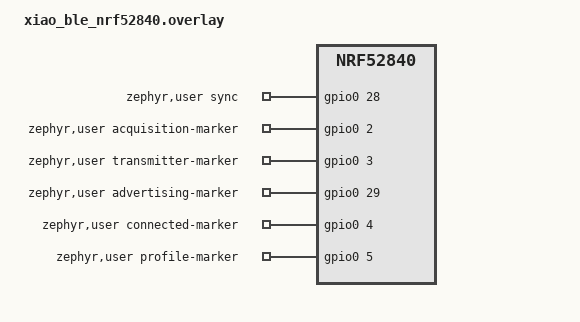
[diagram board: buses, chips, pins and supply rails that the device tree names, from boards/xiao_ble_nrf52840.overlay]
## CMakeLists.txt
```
cmake_minimum_required(VERSION 3.20.0)

find_package(Zephyr REQUIRED HINTS $ENV{ZEPHYR_BASE})
project(peripherial_min)

target_sources(app PRIVATE
  src/main.c
  src/custom_gatt.c
  src/sync_capture.c
)

if(CONFIG_EMG_PREEXPERIMENT)
  target_sources(app PRIVATE src/preexperiment.c)
elseif(CONFIG_EMG_POSTEXPERIMENT)
  target_sources(app PRIVATE
    src/postexperiment.c
    src/energy_markers.c
  )
else()
  message(FATAL_ERROR
    "Seleccione preexperiment.conf o postexperiment.conf mediante EXTRA_CONF_FILE"
  )
endif()

target_include_directories(app PRIVATE
  ${CMAKE_CURRENT_SOURCE_DIR}/../../common
)
```

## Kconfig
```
source "Kconfig.zephyr"

menu "EMG experiment configuration"

config EMG_PREEXPERIMENT
	bool "Automatic BLE saturation preexperiment"
	default n
	help
	  Runs the seven payload sizes automatically with blocking notifications.

config EMG_POSTEXPERIMENT
	bool "Unified post-preexperiment profile sequence"
	default n
	help
	  Runs the seven selected EMG profiles and four 960-byte stress profiles.

endmenu
```

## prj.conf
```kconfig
CONFIG_SERIAL=y
CONFIG_GPIO=y

CONFIG_CONSOLE=y
CONFIG_UART_CONSOLE=y
CONFIG_PRINTK=y
CONFIG_STDOUT_CONSOLE=y
CONFIG_UART_LINE_CTRL=y

CONFIG_USB_DEVICE_STACK_NEXT=y
CONFIG_CDC_ACM_SERIAL_INITIALIZE_AT_BOOT=y
CONFIG_USBD_CDC_ACM_LOG_LEVEL_OFF=y

CONFIG_BT=y
CONFIG_BT_PERIPHERAL=y
CONFIG_BT_DEVICE_NAME="Xiao_GATT_Min"
CONFIG_BT_DEVICE_APPEARANCE=0
CONFIG_BT_MAX_CONN=1

CONFIG_BT_L2CAP_TX_MTU=247
CONFIG_BT_BUF_ACL_RX_SIZE=251
CONFIG_BT_BUF_ACL_TX_SIZE=251
CONFIG_BT_BUF_ACL_TX_COUNT=10
CONFIG_BT_BUF_EVT_RX_COUNT=11
CONFIG_BT_ATT_TX_COUNT=10

CONFIG_BT_GATT_DYNAMIC_DB=n

CONFIG_SYSTEM_WORKQUEUE_STACK_SIZE=2048
CONFIG_HEAP_MEM_POOL_SIZE=1024

CONFIG_LOG=n
CONFIG_LOG_PRINTK=n

CONFIG_ASSERT=y
```

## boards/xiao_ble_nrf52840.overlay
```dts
/ {
	zephyr,user {
		sync-gpios = <&gpio0 28 GPIO_ACTIVE_HIGH>;
		acquisition-marker-gpios = <&gpio0 2 GPIO_ACTIVE_HIGH>;
		transmitter-marker-gpios = <&gpio0 3 GPIO_ACTIVE_HIGH>;
		advertising-marker-gpios = <&gpio0 29 GPIO_ACTIVE_HIGH>;
		connected-marker-gpios = <&gpio0 4 GPIO_ACTIVE_HIGH>;
		profile-marker-gpios = <&gpio0 5 GPIO_ACTIVE_HIGH>;
	};

	chosen {
		zephyr,console = &board_cdc_acm_uart;
		zephyr,shell-uart = &board_cdc_acm_uart;
	};
};

&i2c1 {
	status = "disabled";
};
```

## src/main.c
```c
#include <errno.h>

#include <zephyr/bluetooth/bluetooth.h>
#include <zephyr/bluetooth/conn.h>
#include <zephyr/bluetooth/hci.h>
#include <zephyr/bluetooth/uuid.h>
#include <zephyr/drivers/uart.h>
#include <zephyr/kernel.h>
#include <zephyr/sys/printk.h>

#include "custom_gatt.h"
#if defined(CONFIG_EMG_POSTEXPERIMENT)
#include "energy_markers.h"
#endif
#include "experiment.h"
#include "sync_capture.h"

#define DEVICE_NAME CONFIG_BT_DEVICE_NAME
#define DEVICE_NAME_LEN (sizeof(DEVICE_NAME) - 1)

#define ADV_RESTART_DELAY_MS 100
#define ADV_RETRY_DELAY_MS 250

static void advertising_start(struct k_work *work);

static K_WORK_DELAYABLE_DEFINE(adv_restart_work, advertising_start);

static const struct bt_data ad[] = {
	BT_DATA_BYTES(BT_DATA_FLAGS, (BT_LE_AD_GENERAL | BT_LE_AD_NO_BREDR)),
	BT_DATA(BT_DATA_NAME_COMPLETE, DEVICE_NAME, DEVICE_NAME_LEN),
};

static const struct bt_data sd[] = {
	BT_DATA_BYTES(BT_DATA_UUID128_ALL,
		      BT_UUID_128_ENCODE(0x12345678, 0x1234, 0x5678, 0x1234, 0x56789abcdef0)),
};

static void advertising_start(struct k_work *work)
{
	int err;

	ARG_UNUSED(work);

#if defined(CONFIG_EMG_POSTEXPERIMENT)
	energy_markers_advertising(true);
#endif
	err = bt_le_adv_start(BT_LE_ADV_CONN_FAST_2, ad, ARRAY_SIZE(ad), sd, ARRAY_SIZE(sd));
	if (err == -EALREADY) {
		printk("Advertising already running\n");
		return;
	}

	if (err) {
#if defined(CONFIG_EMG_POSTEXPERIMENT)
		energy_markers_advertising(false);
#endif
		printk("Advertising start failed: %d\n", err);
		k_work_reschedule(&adv_restart_work, K_MSEC(ADV_RETRY_DELAY_MS));
		return;
	}

	printk("Advertising started\n");
}

static void connected(struct bt_conn *conn, uint8_t err)
{
	char addr[BT_ADDR_LE_STR_LEN];

	if (err) {
#if defined(CONFIG_EMG_POSTEXPERIMENT)
		energy_markers_advertising(false);
		energy_markers_connected(false);
#endif
		printk("Connection failed: %u\n", err);
		k_work_reschedule(&adv_restart_work, K_MSEC(ADV_RESTART_DELAY_MS));
		return;
	}

#if defined(CONFIG_EMG_POSTEXPERIMENT)
	energy_markers_advertising(false);
	energy_markers_connected(true);
#endif
	bt_addr_le_to_str(bt_conn_get_dst(conn), addr, sizeof(addr));
	printk("Connected: %s\n", addr);

	k_work_cancel_delayable(&adv_restart_work);
	custom_gatt_connected(conn);
}

static void disconnected(struct bt_conn *conn, uint8_t reason)
{
	char addr[BT_ADDR_LE_STR_LEN];

	bt_addr_le_to_str(bt_conn_get_dst(conn), addr, sizeof(addr));
	printk("Disconnected: %s reason=0x%02x\n", addr, reason);

#if defined(CONFIG_EMG_POSTEXPERIMENT)
	energy_markers_all_off();
#endif
	custom_gatt_disconnected(conn);
	k_work_reschedule(&adv_restart_work, K_MSEC(ADV_RESTART_DELAY_MS));
}

BT_CONN_CB_DEFINE(conn_callbacks) = {
	.connected = connected,
	.disconnected = disconnected,
};

static void wait_for_serial_terminal(void)
{
	const struct device *const console = DEVICE_DT_GET(DT_CHOSEN(zephyr_console));
	uint32_t dtr = 0;
	int err;
	int retries = 0;

	if (!device_is_ready(console)) {
		return;
	}

	while (retries < 50) {
		err = uart_line_ctrl_get(console, UART_LINE_CTRL_DTR, &dtr);
		if ((err == 0) && dtr) {
			break;
		}

		k_sleep(K_MSEC(100));
		retries++;
	}

	k_sleep(K_MSEC(100));
}

int main(void)
{
	int err;

	wait_for_serial_terminal();
	printk("Booting EMG experiment peripheral\n");

#if defined(CONFIG_EMG_POSTEXPERIMENT)
	err = energy_markers_init();
	if (err) {
		printk("Energy marker init failed: %d\n", err);
		return 0;
	}
#endif

	err = sync_capture_init();
	if (err) {
		printk("Synchronization input init failed: %d\n", err);
		return 0;
	}

	err = bt_enable(NULL);
	if (err) {
		printk("Bluetooth init failed: %d\n", err);
		return 0;
	}

	printk("Bluetooth initialized\n");
	printk("Custom payload max length: %d bytes\n", CUSTOM_GATT_MAX_PAYLOAD_LEN);
	experiment_start();

	k_work_reschedule(&adv_restart_work, K_NO_WAIT);

	while (true) {
		k_sleep(K_SECONDS(1));
	}
}
```

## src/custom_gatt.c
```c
#include <errno.h>
#include <string.h>

#include <zephyr/bluetooth/gatt.h>
#include <zephyr/bluetooth/uuid.h>
#include <zephyr/kernel.h>
#include <zephyr/sys/printk.h>

#include "custom_gatt.h"
#include "emg_protocol.h"
#include "sync_capture.h"

#define TX_CHAR_ATTR_INDEX 4

#define BT_UUID_MIN_SERVICE_VAL \
	BT_UUID_128_ENCODE(0x12345678, 0x1234, 0x5678, 0x1234, 0x56789abcdef0)
#define BT_UUID_MIN_RX_VAL \
	BT_UUID_128_ENCODE(0x12345678, 0x1234, 0x5678, 0x1234, 0x56789abcdef1)
#define BT_UUID_MIN_TX_VAL \
	BT_UUID_128_ENCODE(0x12345678, 0x1234, 0x5678, 0x1234, 0x56789abcdef2)

static struct bt_conn *current_conn;
static bool notify_enabled;
static uint8_t tx_payload[CUSTOM_GATT_MAX_PAYLOAD_LEN];
static uint16_t tx_payload_len;

static struct bt_uuid_128 min_service_uuid = BT_UUID_INIT_128(BT_UUID_MIN_SERVICE_VAL);
static struct bt_uuid_128 min_rx_uuid = BT_UUID_INIT_128(BT_UUID_MIN_RX_VAL);
static struct bt_uuid_128 min_tx_uuid = BT_UUID_INIT_128(BT_UUID_MIN_TX_VAL);

static K_MUTEX_DEFINE(gatt_mutex);
static K_MUTEX_DEFINE(send_mutex);
static K_SEM_DEFINE(notification_complete, 0, 1);

static void ccc_cfg_changed(const struct bt_gatt_attr *attr, uint16_t value)
{
	ARG_UNUSED(attr);

	k_mutex_lock(&gatt_mutex, K_FOREVER);
	notify_enabled = (value == BT_GATT_CCC_NOTIFY);
	k_mutex_unlock(&gatt_mutex);

	printk("Notifications %s\n", notify_enabled ? "enabled" : "disabled");
}

static ssize_t tx_read_cb(struct bt_conn *conn, const struct bt_gatt_attr *attr,
			  void *buf, uint16_t len, uint16_t offset)
{
	ssize_t result;

	k_mutex_lock(&gatt_mutex, K_FOREVER);
	result = bt_gatt_attr_read(conn, attr, buf, len, offset,
				   tx_payload, tx_payload_len);
	k_mutex_unlock(&gatt_mutex);

	return result;
}

static ssize_t rx_write_cb(struct bt_conn *conn, const struct bt_gatt_attr *attr,
			   const void *buf, uint16_t len, uint16_t offset, uint8_t flags)
{
	uint8_t command;
	int err;

	ARG_UNUSED(conn);
	ARG_UNUSED(attr);
	ARG_UNUSED(flags);

	if (offset != 0U) {
		return BT_GATT_ERR(BT_ATT_ERR_INVALID_OFFSET);
	}

	if (len > CUSTOM_GATT_MAX_PAYLOAD_LEN) {
		return BT_GATT_ERR(BT_ATT_ERR_INVALID_ATTRIBUTE_LEN);
	}

	if (emg_control_decode(&command, buf, len) != 0) {
		return BT_GATT_ERR(BT_ATT_ERR_VALUE_NOT_ALLOWED);
	}

	err = sync_capture_handle_command(command);
	if (err) {
		return BT_GATT_ERR(BT_ATT_ERR_UNLIKELY);
	}

	return len;
}

BT_GATT_SERVICE_DEFINE(min_service,
	BT_GATT_PRIMARY_SERVICE(&min_service_uuid),
	BT_GATT_CHARACTERISTIC(&min_rx_uuid.uuid,
			       BT_GATT_CHRC_WRITE | BT_GATT_CHRC_WRITE_WITHOUT_RESP,
			       BT_GATT_PERM_WRITE,
			       NULL, rx_write_cb, NULL),
	BT_GATT_CHARACTERISTIC(&min_tx_uuid.uuid,
			       BT_GATT_CHRC_NOTIFY | BT_GATT_CHRC_READ,
			       BT_GATT_PERM_READ,
			       tx_read_cb, NULL, tx_payload),
	BT_GATT_CCC(ccc_cfg_changed, BT_GATT_PERM_READ | BT_GATT_PERM_WRITE),
);

void custom_gatt_connected(struct bt_conn *conn)
{
	k_mutex_lock(&gatt_mutex, K_FOREVER);
	if (current_conn != NULL) {
		bt_conn_unref(current_conn);
	}
	current_conn = bt_conn_ref(conn);
	k_mutex_unlock(&gatt_mutex);
}

void custom_gatt_disconnected(struct bt_conn *conn)
{
	k_mutex_lock(&gatt_mutex, K_FOREVER);
	notify_enabled = false;
	if (current_conn == conn) {
		bt_conn_unref(current_conn);
		current_conn = NULL;
	}
	k_mutex_unlock(&gatt_mutex);
}

static void notification_sent(struct bt_conn *conn, void *user_data)
{
	ARG_UNUSED(conn);
	ARG_UNUSED(user_data);
	k_sem_give(&notification_complete);
}

int custom_gatt_send(const uint8_t *data, uint16_t len)
{
	struct bt_conn *conn;
	struct bt_gatt_notify_params params = {0};
	int err;

	if (len > CUSTOM_GATT_MAX_PAYLOAD_LEN) {
		return -EMSGSIZE;
	}

	k_mutex_lock(&send_mutex, K_FOREVER);
	k_mutex_lock(&gatt_mutex, K_FOREVER);
	conn = current_conn ? bt_conn_ref(current_conn) : NULL;
	if ((conn == NULL) || !notify_enabled) {
		k_mutex_unlock(&gatt_mutex);
		if (conn != NULL) {
			bt_conn_unref(conn);
		}
		k_mutex_unlock(&send_mutex);
		return -ENOTCONN;
	}

	memcpy(tx_payload, data, len);
	tx_payload_len = len;
	k_mutex_unlock(&gatt_mutex);

	k_sem_reset(&notification_complete);
	params.attr = &min_service.attrs[TX_CHAR_ATTR_INDEX];
	params.data = tx_payload;
	params.len = tx_payload_len;
	params.func = notification_sent;

	err = bt_gatt_notify_cb(conn, &params);
	if (err == 0) {
		err = k_sem_take(&notification_complete, K_SECONDS(2));
	}
	bt_conn_unref(conn);
	k_mutex_unlock(&send_mutex);

	return err;
}

bool custom_gatt_is_ready(void)
{
	bool ready;

	k_mutex_lock(&gatt_mutex, K_FOREVER);
	ready = (current_conn != NULL) && notify_enabled;
	k_mutex_unlock(&gatt_mutex);

	return ready;
}
```

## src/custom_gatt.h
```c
#ifndef CUSTOM_GATT_H_
#define CUSTOM_GATT_H_

#include <stdbool.h>
#include <stdint.h>

#include <zephyr/bluetooth/conn.h>

#define CUSTOM_GATT_MAX_PAYLOAD_LEN 244

void custom_gatt_connected(struct bt_conn *conn);
void custom_gatt_disconnected(struct bt_conn *conn);
int custom_gatt_send(const uint8_t *data, uint16_t len);
bool custom_gatt_is_ready(void);

#endif /* CUSTOM_GATT_H_ */
```

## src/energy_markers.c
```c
#include <errno.h>
#include <stdbool.h>

#include <zephyr/devicetree.h>
#include <zephyr/drivers/gpio.h>

#include "energy_markers.h"

#define MARKER_NODE DT_PATH(zephyr_user)

BUILD_ASSERT(DT_NODE_HAS_STATUS(MARKER_NODE, okay),
	     "The zephyr,user marker node is required");

static const struct gpio_dt_spec acquisition_marker =
	GPIO_DT_SPEC_GET(MARKER_NODE, acquisition_marker_gpios);
static const struct gpio_dt_spec transmitter_marker =
	GPIO_DT_SPEC_GET(MARKER_NODE, transmitter_marker_gpios);
static const struct gpio_dt_spec advertising_marker =
	GPIO_DT_SPEC_GET(MARKER_NODE, advertising_marker_gpios);
static const struct gpio_dt_spec connected_marker =
	GPIO_DT_SPEC_GET(MARKER_NODE, connected_marker_gpios);
static const struct gpio_dt_spec profile_marker =
	GPIO_DT_SPEC_GET(MARKER_NODE, profile_marker_gpios);

static int configure_output(const struct gpio_dt_spec *marker)
{
	if (!gpio_is_ready_dt(marker)) {
		return -ENODEV;
	}

	return gpio_pin_configure_dt(marker, GPIO_OUTPUT_INACTIVE);
}

int energy_markers_init(void)
{
	const struct gpio_dt_spec *markers[] = {
		&acquisition_marker,
		&transmitter_marker,
		&advertising_marker,
		&connected_marker,
		&profile_marker,
	};

	for (size_t index = 0U; index < ARRAY_SIZE(markers); index++) {
		int err = configure_output(markers[index]);

		if (err) {
			return err;
		}
	}

	return 0;
}

void energy_markers_advertising(bool active)
{
	gpio_pin_set_dt(&advertising_marker, active);
}

void energy_markers_connected(bool active)
{
	gpio_pin_set_dt(&connected_marker, active);
}

void energy_markers_profile(bool active)
{
	gpio_pin_set_dt(&profile_marker, active);
}

void energy_markers_acquisition(bool active)
{
	gpio_pin_set_dt(&acquisition_marker, active);
}

void energy_markers_transmitter(bool active)
{
	gpio_pin_set_dt(&transmitter_marker, active);
}

void energy_markers_all_off(void)
{
	energy_markers_acquisition(false);
	energy_markers_transmitter(false);
	energy_markers_profile(false);
	energy_markers_connected(false);
	energy_markers_advertising(false);
}
```

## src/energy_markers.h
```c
#ifndef ENERGY_MARKERS_H_
#define ENERGY_MARKERS_H_

#include <stdbool.h>

int energy_markers_init(void);
void energy_markers_advertising(bool active);
void energy_markers_connected(bool active);
void energy_markers_profile(bool active);
void energy_markers_acquisition(bool active);
void energy_markers_transmitter(bool active);
void energy_markers_all_off(void);

#endif /* ENERGY_MARKERS_H_ */
```

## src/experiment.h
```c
#ifndef EXPERIMENT_H_
#define EXPERIMENT_H_

#include <stdbool.h>

#include "emg_protocol.h"

int experiment_start(void);
void experiment_start_data(void);
void experiment_stop_data(void);
bool experiment_is_running(void);
uint8_t experiment_stats_count(void);
void experiment_get_stats(uint8_t index, struct emg_experiment_stats *stats);

#endif /* EXPERIMENT_H_ */
```

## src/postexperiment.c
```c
#include <stdbool.h>
#include <stdint.h>
#include <string.h>

#include <zephyr/kernel.h>
#include <zephyr/sys/atomic.h>
#include <zephyr/sys/printk.h>

#include "custom_gatt.h"
#include "emg_protocol.h"
#include "energy_markers.h"
#include "experiment.h"

#define EMG_PACKET_QUEUE_DEPTH 8U
#define TRANSMITTER_IDLE_TIMEOUT_MS 2000U

struct post_profile {
	const char *name;
	uint8_t config_id;
	uint16_t payload_len;
	uint16_t period_ms;
};

struct queued_packet {
	uint64_t acquisition_time_us;
	uint32_t packet_id;
	uint8_t profile_index;
	uint16_t payload_len;
	uint8_t payload[EMG_PACKET_DATA_MAX];
};

struct profile_counters {
	atomic_t generated_packets;
	atomic_t enqueued_packets;
	atomic_t transmitted_packets;
	atomic_t queue_dropped_packets;
	atomic_t stop_dropped_packets;
	atomic_t send_error_packets;
	atomic_t queue_high_watermark;
};

static const struct post_profile profiles[] = {
	{ "S1-E20", EMG_CONFIG_S1_E20, 60U, 20U },
	{ "S2-E5", EMG_CONFIG_S2_E5, 60U, 5U },
	{ "S2-E10", EMG_CONFIG_S2_E10, 120U, 10U },
	{ "S2-E20", EMG_CONFIG_S2_E20, 240U, 20U },
	{ "S3-E5", EMG_CONFIG_S3_E5, 240U, 5U },
	{ "S3-E10", EMG_CONFIG_S3_E10, 480U, 10U },
	{ "S3-E20", EMG_CONFIG_S3_E20, 960U, 20U },
	{ "P960-T10", EMG_CONFIG_STRESS_P960_T10, 960U, 10U },
	{ "P960-T8", EMG_CONFIG_STRESS_P960_T8, 960U, 8U },
	{ "P960-T7", EMG_CONFIG_STRESS_P960_T7, 960U, 7U },
	{ "P960-T6", EMG_CONFIG_STRESS_P960_T6, 960U, 6U },
};

BUILD_ASSERT(ARRAY_SIZE(profiles) == EMG_POSTEXPERIMENT_PROFILE_COUNT);

K_MSGQ_DEFINE(packet_queue, sizeof(struct queued_packet),
	      EMG_PACKET_QUEUE_DEPTH, 4);
static K_SEM_DEFINE(acquisition_tick_sem, 0, K_SEM_MAX_LIMIT);
static K_SEM_DEFINE(sequence_start_sem, 0, 1);

static struct profile_counters counters[EMG_POSTEXPERIMENT_PROFILE_COUNT];
static uint8_t notification[EMG_GATT_VALUE_MAX];
static uint64_t acquisition_epoch_us;
static uint32_t sample_word_index;
static atomic_t sequence_running;
static atomic_t profile_running;
static atomic_t transmitter_active;
static atomic_t current_profile_index;

static uint64_t local_time_us(void)
{
	return k_ticks_to_us_floor64(k_uptime_ticks());
}

static void acquisition_timer_handler(struct k_timer *timer)
{
	ARG_UNUSED(timer);

	if (atomic_get(&profile_running)) {
		k_sem_give(&acquisition_tick_sem);
	}
}

K_TIMER_DEFINE(acquisition_timer, acquisition_timer_handler, NULL);

static void reset_counter(struct profile_counters *counter)
{
	atomic_clear(&counter->generated_packets);
	atomic_clear(&counter->enqueued_packets);
	atomic_clear(&counter->transmitted_packets);
	atomic_clear(&counter->queue_dropped_packets);
	atomic_clear(&counter->stop_dropped_packets);
	atomic_clear(&counter->send_error_packets);
	atomic_clear(&counter->queue_high_watermark);
}

static void update_queue_high_watermark(struct profile_counters *counter,
					uint32_t used)
{
	atomic_val_t previous = atomic_get(&counter->queue_high_watermark);

	while ((used > (uint32_t)previous) &&
	       !atomic_cas(&counter->queue_high_watermark, previous, used)) {
		previous = atomic_get(&counter->queue_high_watermark);
	}
}

static void generate_payload(uint8_t *payload, uint16_t len, uint8_t config_id)
{
	for (uint16_t offset = 0U; offset < len; offset += 3U) {
		const uint32_t value =
			((sample_word_index++ & 0x00ffffU) << 8) |
			config_id;

		payload[offset] = (uint8_t)value;
		payload[offset + 1U] = (uint8_t)(value >> 8);
		payload[offset + 2U] = (uint8_t)(value >> 16);
	}
}

static int send_packet(const struct queued_packet *packet)
{
	const struct post_profile *profile = &profiles[packet->profile_index];
	const uint8_t fragment_count =
		(packet->payload_len + EMG_FRAGMENT_DATA_MAX - 1U) /
		EMG_FRAGMENT_DATA_MAX;
	const uint64_t tx_time_us = local_time_us();
	uint16_t offset = 0U;

	for (uint8_t fragment_index = 0U; fragment_index < fragment_count;
	     fragment_index++) {
		const uint16_t remaining = packet->payload_len - offset;
		const uint16_t fragment_len =
			MIN(remaining, EMG_FRAGMENT_DATA_MAX);
		const struct emg_fragment_header header = {
			.config_id = profile->config_id,
			.packet_id = packet->packet_id,
			.acquisition_time_us = packet->acquisition_time_us,
			.tx_time_us = tx_time_us,
			.packet_payload_len = packet->payload_len,
			.fragment_offset = offset,
			.fragment_index = fragment_index,
			.fragment_count = fragment_count,
			.fragment_payload_len = fragment_len,
		};
		int err;

		emg_header_encode(notification, &header);
		memcpy(&notification[EMG_HEADER_SIZE], &packet->payload[offset],
		       fragment_len);

		err = custom_gatt_send(notification,
				       EMG_HEADER_SIZE + fragment_len);
		if (err) {
			return err;
		}
		offset += fragment_len;
	}

	return 0;
}

static void acquisition_thread(void *p1, void *p2, void *p3)
{
	ARG_UNUSED(p1);
	ARG_UNUSED(p2);
	ARG_UNUSED(p3);

	while (true) {
		struct queued_packet packet;
		struct profile_counters *counter;
		const struct post_profile *profile;
		uint8_t profile_index;
		uint32_t queue_used;

		k_sem_take(&acquisition_tick_sem, K_FOREVER);
		if (!atomic_get(&profile_running)) {
			continue;
		}

		profile_index = (uint8_t)atomic_get(&current_profile_index);
		if (profile_index >= ARRAY_SIZE(profiles)) {
			continue;
		}

		profile = &profiles[profile_index];
		counter = &counters[profile_index];
		packet.profile_index = profile_index;
		packet.payload_len = profile->payload_len;
		packet.packet_id =
			(uint32_t)atomic_inc(&counter->generated_packets);
		packet.acquisition_time_us =
			acquisition_epoch_us +
			((uint64_t)packet.packet_id * profile->period_ms * 1000U);

		energy_markers_acquisition(true);
		generate_payload(packet.payload, packet.payload_len,
				 profile->config_id);
		energy_markers_acquisition(false);

		if (!atomic_get(&profile_running) ||
		    ((uint8_t)atomic_get(&current_profile_index) != profile_index)) {
			atomic_inc(&counter->queue_dropped_packets);
			continue;
		}

		if (k_msgq_put(&packet_queue, &packet, K_NO_WAIT) != 0) {
			atomic_inc(&counter->queue_dropped_packets);
			continue;
		}

		atomic_inc(&counter->enqueued_packets);
		queue_used = k_msgq_num_used_get(&packet_queue);
		update_queue_high_watermark(counter, queue_used);
	}
}

static void transmitter_thread(void *p1, void *p2, void *p3)
{
	ARG_UNUSED(p1);
	ARG_UNUSED(p2);
	ARG_UNUSED(p3);

	while (true) {
		struct queued_packet packet;
		struct profile_counters *counter;

		if (k_msgq_get(&packet_queue, &packet, K_FOREVER) != 0) {
			continue;
		}

		counter = &counters[packet.profile_index];
		if (!atomic_get(&profile_running) ||
		    ((uint8_t)atomic_get(&current_profile_index) !=
		     packet.profile_index)) {
			atomic_inc(&counter->stop_dropped_packets);
			continue;
		}

		atomic_set(&transmitter_active, 1);
		energy_markers_transmitter(true);
		if (send_packet(&packet) == 0) {
			atomic_inc(&counter->transmitted_packets);
		} else {
			atomic_inc(&counter->send_error_packets);
		}
		energy_markers_transmitter(false);
		atomic_clear(&transmitter_active);
	}
}

static bool sleep_sequence(uint32_t duration_ms)
{
	uint32_t elapsed_ms = 0U;

	while (elapsed_ms < duration_ms) {
		const uint32_t interval = MIN(50U, duration_ms - elapsed_ms);

		k_sleep(K_MSEC(interval));
		elapsed_ms += interval;
		if (!atomic_get(&sequence_running)) {
			return false;
		}
	}

	return true;
}

static void stop_current_profile(uint8_t profile_index)
{
	struct profile_counters *counter = &counters[profile_index];
	uint32_t pending;
	uint32_t waited_ms = 0U;

	atomic_clear(&profile_running);
	k_timer_stop(&acquisition_timer);
	k_sem_reset(&acquisition_tick_sem);
	energy_markers_acquisition(false);

	pending = k_msgq_num_used_get(&packet_queue);
	if (pending != 0U) {
		atomic_add(&counter->stop_dropped_packets, pending);
		k_msgq_purge(&packet_queue);
	}

	while (atomic_get(&transmitter_active) &&
	       (waited_ms < TRANSMITTER_IDLE_TIMEOUT_MS)) {
		k_sleep(K_MSEC(1));
		waited_ms++;
	}

	energy_markers_transmitter(false);
	energy_markers_profile(false);
}

static void sequence_thread(void *p1, void *p2, void *p3)
{
	ARG_UNUSED(p1);
	ARG_UNUSED(p2);
	ARG_UNUSED(p3);

	while (true) {
		k_sem_take(&sequence_start_sem, K_FOREVER);

		for (uint8_t index = 0U;
		     index < ARRAY_SIZE(profiles) &&
		     atomic_get(&sequence_running);
		     index++) {
			const struct post_profile *profile = &profiles[index];

			k_msgq_purge(&packet_queue);
			k_sem_reset(&acquisition_tick_sem);
			atomic_set(&current_profile_index, index);
			acquisition_epoch_us = local_time_us();
			sample_word_index = 0U;

			printk("POST stage=%u/%u name=%s config=0x%02x payload=%u period=%ums duration=%us\n",
			       index + 1U, ARRAY_SIZE(profiles), profile->name,
			       profile->config_id, profile->payload_len,
			       profile->period_ms,
			       EMG_POSTEXPERIMENT_PROFILE_SECONDS);

			atomic_set(&profile_running, 1);
			energy_markers_profile(true);
			k_timer_start(&acquisition_timer,
				      K_MSEC(profile->period_ms),
				      K_MSEC(profile->period_ms));

			sleep_sequence(EMG_POSTEXPERIMENT_PROFILE_SECONDS * 1000U);
			stop_current_profile(index);

			printk("POST stage complete config=0x%02x generated=%u transmitted=%u queue_drop=%u stop_drop=%u\n",
			       profile->config_id,
			       (uint32_t)atomic_get(
				       &counters[index].generated_packets),
			       (uint32_t)atomic_get(
				       &counters[index].transmitted_packets),
			       (uint32_t)atomic_get(
				       &counters[index].queue_dropped_packets),
			       (uint32_t)atomic_get(
				       &counters[index].stop_dropped_packets));

			if ((index + 1U < ARRAY_SIZE(profiles)) &&
			    !sleep_sequence(EMG_POSTEXPERIMENT_GAP_MS)) {
				break;
			}
		}

		atomic_clear(&sequence_running);
		energy_markers_profile(false);
		energy_markers_acquisition(false);
		energy_markers_transmitter(false);
		printk("POST unified profile sequence complete\n");
	}
}

K_THREAD_DEFINE(acquisition_thread_id, 3072, acquisition_thread,
		NULL, NULL, NULL, 4, 0, 0);
K_THREAD_DEFINE(transmitter_thread_id, 4096, transmitter_thread,
		NULL, NULL, NULL, 5, 0, 0);
K_THREAD_DEFINE(sequence_thread_id, 3072, sequence_thread,
		NULL, NULL, NULL, 6, 0, 0);

int experiment_start(void)
{
	printk("Unified post-preexperiment: %u profiles, %u s each, %u ms gaps\n",
	       ARRAY_SIZE(profiles), EMG_POSTEXPERIMENT_PROFILE_SECONDS,
	       EMG_POSTEXPERIMENT_GAP_MS);
	return 0;
}

void experiment_start_data(void)
{
	experiment_stop_data();
	k_sem_reset(&sequence_start_sem);
	k_msgq_purge(&packet_queue);
	k_sem_reset(&acquisition_tick_sem);

	for (uint8_t index = 0U; index < ARRAY_SIZE(counters); index++) {
		reset_counter(&counters[index]);
	}

	atomic_clear(&transmitter_active);
	atomic_set(&sequence_running, 1);
	k_sem_give(&sequence_start_sem);
}

void experiment_stop_data(void)
{
	uint8_t profile_index =
		(uint8_t)atomic_get(&current_profile_index);

	atomic_clear(&sequence_running);
	if (atomic_get(&profile_running) &&
	    (profile_index < ARRAY_SIZE(profiles))) {
		stop_current_profile(profile_index);
	}
}

bool experiment_is_running(void)
{
	return atomic_get(&sequence_running) != 0;
}

uint8_t experiment_stats_count(void)
{
	return ARRAY_SIZE(profiles);
}

void experiment_get_stats(uint8_t index, struct emg_experiment_stats *stats)
{
	const struct profile_counters *counter;

	if (index >= ARRAY_SIZE(profiles)) {
		memset(stats, 0, sizeof(*stats));
		return;
	}

	counter = &counters[index];
	stats->config_id = profiles[index].config_id;
	stats->generated_packets = atomic_get(&counter->generated_packets);
	stats->enqueued_packets = atomic_get(&counter->enqueued_packets);
	stats->transmitted_packets = atomic_get(&counter->transmitted_packets);
	stats->queue_dropped_packets =
		atomic_get(&counter->queue_dropped_packets);
	stats->stop_dropped_packets =
		atomic_get(&counter->stop_dropped_packets);
	stats->send_error_packets =
		atomic_get(&counter->send_error_packets);
	stats->queue_high_watermark =
		atomic_get(&counter->queue_high_watermark);
}
```

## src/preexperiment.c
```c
#include <stdbool.h>
#include <stdint.h>
#include <string.h>

#include <zephyr/kernel.h>
#include <zephyr/sys/atomic.h>
#include <zephyr/sys/printk.h>

#include "custom_gatt.h"
#include "emg_protocol.h"
#include "experiment.h"

struct preexperiment_profile {
	uint8_t config_id;
	uint16_t payload_len;
};

struct preexperiment_packet {
	uint64_t acquisition_time_us;
	uint32_t packet_id;
	uint8_t config_id;
	uint16_t payload_len;
	uint8_t payload[EMG_PACKET_DATA_MAX];
};

static const struct preexperiment_profile profiles[] = {
	{ EMG_CONFIG_PRE_P15, 15U },
	{ EMG_CONFIG_PRE_P30, 30U },
	{ EMG_CONFIG_PRE_P60, 60U },
	{ EMG_CONFIG_PRE_P120, 120U },
	{ EMG_CONFIG_PRE_P240, 240U },
	{ EMG_CONFIG_PRE_P480, 480U },
	{ EMG_CONFIG_PRE_P960, 960U },
};

BUILD_ASSERT(ARRAY_SIZE(profiles) == EMG_PREEXPERIMENT_STAGE_COUNT);

static uint8_t notification[EMG_GATT_VALUE_MAX];
static atomic_t experiment_running;
static atomic_t generated_packets;
static atomic_t transmitted_packets;
static atomic_t send_error_packets;
static K_SEM_DEFINE(start_sem, 0, 1);

static uint64_t local_time_us(void)
{
	return k_ticks_to_us_floor64(k_uptime_ticks());
}

static void generate_payload(uint8_t *payload, uint16_t len,
			     uint32_t packet_id, uint8_t config_id)
{
	for (uint16_t index = 0U; index < len; index++) {
		payload[index] =
			(uint8_t)(packet_id + index + ((uint32_t)config_id << 1));
	}
}

static int send_packet(const struct preexperiment_packet *packet)
{
	const uint8_t fragment_count =
		(packet->payload_len + EMG_FRAGMENT_DATA_MAX - 1U) /
		EMG_FRAGMENT_DATA_MAX;
	const uint64_t tx_time_us = local_time_us();
	uint16_t offset = 0U;

	for (uint8_t fragment_index = 0U; fragment_index < fragment_count;
	     fragment_index++) {
		const uint16_t remaining = packet->payload_len - offset;
		const uint16_t fragment_len =
			MIN(remaining, EMG_FRAGMENT_DATA_MAX);
		const struct emg_fragment_header header = {
			.config_id = packet->config_id,
			.packet_id = packet->packet_id,
			.acquisition_time_us = packet->acquisition_time_us,
			.tx_time_us = tx_time_us,
			.packet_payload_len = packet->payload_len,
			.fragment_offset = offset,
			.fragment_index = fragment_index,
			.fragment_count = fragment_count,
			.fragment_payload_len = fragment_len,
		};
		int err;

		emg_header_encode(notification, &header);
		memcpy(&notification[EMG_HEADER_SIZE], &packet->payload[offset],
		       fragment_len);

		err = custom_gatt_send(notification,
				       EMG_HEADER_SIZE + fragment_len);
		if (err) {
			return err;
		}
		offset += fragment_len;
	}

	return 0;
}

static bool wait_gap(void)
{
	uint32_t elapsed_ms = 0U;

	while (elapsed_ms < EMG_PREEXPERIMENT_GAP_MS) {
		const uint32_t interval =
			MIN(50U, EMG_PREEXPERIMENT_GAP_MS - elapsed_ms);

		k_sleep(K_MSEC(interval));
		elapsed_ms += interval;
		if (!atomic_get(&experiment_running)) {
			return false;
		}
	}

	return true;
}

static void preexperiment_thread(void *p1, void *p2, void *p3)
{
	ARG_UNUSED(p1);
	ARG_UNUSED(p2);
	ARG_UNUSED(p3);

	while (true) {
		k_sem_take(&start_sem, K_FOREVER);

		for (uint8_t stage = 0U;
		     stage < ARRAY_SIZE(profiles) &&
		     atomic_get(&experiment_running);
		     stage++) {
			const struct preexperiment_profile *profile =
				&profiles[stage];
			const uint64_t stage_start_us = local_time_us();
			const uint64_t stage_duration_us =
				(uint64_t)EMG_PREEXPERIMENT_STAGE_SECONDS *
				1000000U;
			uint32_t packet_id = 0U;

			printk("PRE stage=%u/%u config=0x%02x payload=%u duration=%us\n",
			       stage + 1U, ARRAY_SIZE(profiles),
			       profile->config_id, profile->payload_len,
			       EMG_PREEXPERIMENT_STAGE_SECONDS);

			while (atomic_get(&experiment_running) &&
			       ((local_time_us() - stage_start_us) <
				stage_duration_us)) {
				struct preexperiment_packet packet = {
					.acquisition_time_us = local_time_us(),
					.packet_id = packet_id++,
					.config_id = profile->config_id,
					.payload_len = profile->payload_len,
				};

				generate_payload(packet.payload, packet.payload_len,
						 packet.packet_id,
						 packet.config_id);
				atomic_inc(&generated_packets);

				if (send_packet(&packet) == 0) {
					atomic_inc(&transmitted_packets);
				} else {
					atomic_inc(&send_error_packets);
					if (atomic_get(&experiment_running)) {
						k_sleep(K_MSEC(1));
					}
				}
			}

			printk("PRE stage complete config=0x%02x packets=%u\n",
			       profile->config_id, packet_id);

			if ((stage + 1U < ARRAY_SIZE(profiles)) &&
			    !wait_gap()) {
				break;
			}
		}

		atomic_clear(&experiment_running);
		printk("PRE saturation sequence complete\n");
	}
}

K_THREAD_DEFINE(preexperiment_thread_id, 4608, preexperiment_thread,
		NULL, NULL, NULL, 5, 0, 0);

int experiment_start(void)
{
	printk("BLE saturation preexperiment: 7 payloads, 10 s each, one notification in flight\n");
	return 0;
}

void experiment_start_data(void)
{
	atomic_clear(&experiment_running);
	k_sem_reset(&start_sem);
	atomic_clear(&generated_packets);
	atomic_clear(&transmitted_packets);
	atomic_clear(&send_error_packets);

	atomic_set(&experiment_running, 1);
	k_sem_give(&start_sem);
}

void experiment_stop_data(void)
{
	atomic_clear(&experiment_running);
}

bool experiment_is_running(void)
{
	return atomic_get(&experiment_running) != 0;
}

uint8_t experiment_stats_count(void)
{
	return 1U;
}

void experiment_get_stats(uint8_t index, struct emg_experiment_stats *stats)
{
	ARG_UNUSED(index);

	stats->config_id = EMG_CONFIG_PREEXPERIMENT;
	stats->generated_packets = atomic_get(&generated_packets);
	stats->enqueued_packets = stats->generated_packets;
	stats->transmitted_packets = atomic_get(&transmitted_packets);
	stats->queue_dropped_packets = 0U;
	stats->stop_dropped_packets = 0U;
	stats->send_error_packets = atomic_get(&send_error_packets);
	stats->queue_high_watermark = 0U;
}
```

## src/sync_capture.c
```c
#include <errno.h>
#include <stdbool.h>
#include <stdint.h>
#include <string.h>

#include <zephyr/drivers/gpio.h>
#include <zephyr/kernel.h>
#include <zephyr/sys/printk.h>

#include "custom_gatt.h"
#include "emg_protocol.h"
#include "experiment.h"
#include "sync_capture.h"

#define SYNC_NODE DT_PATH(zephyr_user)

BUILD_ASSERT(DT_NODE_HAS_STATUS(SYNC_NODE, okay),
	     "The sync-signal devicetree alias is required");

static const struct gpio_dt_spec sync_gpio =
	GPIO_DT_SPEC_GET(SYNC_NODE, sync_gpios);
static struct gpio_callback sync_gpio_cb;
static struct k_spinlock sync_lock;
static uint64_t captured_time_us[EMG_SYNC_RECORD_COUNT];
static uint8_t captured_per_group[EMG_SYNC_GROUP_COUNT];
static bool capture_armed;
static uint8_t armed_group;

static K_SEM_DEFINE(report_sync_sem, 0, 1);

static uint64_t local_time_us(void)
{
	return k_ticks_to_us_floor64(k_uptime_ticks());
}

static void sync_edge_cb(const struct device *port,
			 struct gpio_callback *cb, gpio_port_pins_t pins)
{
	k_spinlock_key_t key;
	uint8_t group_index;
	uint8_t pulse_id;

	ARG_UNUSED(port);
	ARG_UNUSED(cb);
	ARG_UNUSED(pins);

	key = k_spin_lock(&sync_lock);
	if (!capture_armed ||
	    (captured_per_group[armed_group] >= EMG_SYNC_PULSES_PER_GROUP)) {
		k_spin_unlock(&sync_lock, key);
		return;
	}

	group_index = captured_per_group[armed_group]++;
	pulse_id = (armed_group * EMG_SYNC_PULSES_PER_GROUP) + group_index;
	captured_time_us[pulse_id] = local_time_us();
	k_spin_unlock(&sync_lock, key);
}

static void arm_group(uint8_t group)
{
	k_spinlock_key_t key = k_spin_lock(&sync_lock);

	armed_group = group;
	captured_per_group[group] = 0U;
	capture_armed = true;
	k_spin_unlock(&sync_lock, key);
}

static void disarm_capture(void)
{
	k_spinlock_key_t key = k_spin_lock(&sync_lock);

	capture_armed = false;
	k_spin_unlock(&sync_lock, key);
}

static void report_sync_thread(void *p1, void *p2, void *p3)
{
	uint8_t encoded[EMG_STATS_RECORD_SIZE];
	uint8_t count[EMG_SYNC_GROUP_COUNT];

	ARG_UNUSED(p1);
	ARG_UNUSED(p2);
	ARG_UNUSED(p3);

	while (true) {
		k_sem_take(&report_sync_sem, K_FOREVER);

		for (uint8_t group = 0U; group < EMG_SYNC_GROUP_COUNT; group++) {
			k_spinlock_key_t key = k_spin_lock(&sync_lock);

			count[group] = captured_per_group[group];
			k_spin_unlock(&sync_lock, key);
		}

		printk("Sync report initial=%u final=%u\n", count[0], count[1]);

		for (uint8_t index = 0U; index < experiment_stats_count(); index++) {
			struct emg_experiment_stats stats;
			int err;

			experiment_get_stats(index, &stats);
			emg_stats_record_encode(encoded, &stats);
			err = custom_gatt_send(encoded, EMG_STATS_RECORD_SIZE);
			if (err) {
				printk("Experiment stats send failed index=%u err=%d\n",
				       index, err);
				continue;
			}
		}

		for (uint8_t group = 0U; group < EMG_SYNC_GROUP_COUNT; group++) {
			for (uint8_t index = 0U;
			     index < EMG_SYNC_PULSES_PER_GROUP; index++) {
				const uint16_t pulse_id =
					(group * EMG_SYNC_PULSES_PER_GROUP) + index;
				const struct emg_sync_record record = {
					.pulse_id = pulse_id,
					.group = group,
					.local_time_us =
						captured_time_us[pulse_id],
				};
				int err;

				emg_sync_record_encode(encoded, &record);
				err = custom_gatt_send(encoded,
						       EMG_SYNC_RECORD_SIZE);
				if (err) {
					printk("Sync report send failed id=%u err=%d\n",
					       pulse_id, err);
					break;
				}
			}
		}
	}
}

K_THREAD_DEFINE(sync_report_thread_id, 2048, report_sync_thread,
		NULL, NULL, NULL, 6, 0, 0);

int sync_capture_handle_command(uint8_t command)
{
	switch (command) {
	case EMG_CONTROL_PREPARE:
		experiment_stop_data();
		disarm_capture();
		memset(captured_time_us, 0, sizeof(captured_time_us));
		memset(captured_per_group, 0, sizeof(captured_per_group));
		arm_group(EMG_SYNC_GROUP_INITIAL);
		printk("Initial synchronization armed\n");
		return 0;

	case EMG_CONTROL_START_DATA:
		disarm_capture();
		if (captured_per_group[EMG_SYNC_GROUP_INITIAL] !=
		    EMG_SYNC_PULSES_PER_GROUP) {
			printk("Initial synchronization incomplete: %u\n",
			       captured_per_group[EMG_SYNC_GROUP_INITIAL]);
		}
		experiment_start_data();
		return 0;

	case EMG_CONTROL_STOP_DATA:
		experiment_stop_data();
		arm_group(EMG_SYNC_GROUP_FINAL);
		return 0;

	case EMG_CONTROL_REPORT_SYNC:
		disarm_capture();
		k_sem_give(&report_sync_sem);
		return 0;

	default:
		return -EINVAL;
	}
}

int sync_capture_init(void)
{
	int err;

	if (!gpio_is_ready_dt(&sync_gpio)) {
		return -ENODEV;
	}

	err = gpio_pin_configure_dt(&sync_gpio, GPIO_INPUT | GPIO_PULL_DOWN);
	if (err) {
		return err;
	}

	gpio_init_callback(&sync_gpio_cb, sync_edge_cb, BIT(sync_gpio.pin));
	err = gpio_add_callback(sync_gpio.port, &sync_gpio_cb);
	if (err) {
		return err;
	}

	err = gpio_pin_interrupt_configure_dt(&sync_gpio, GPIO_INT_EDGE_RISING);
	if (err) {
		return err;
	}

	printk("Sync input ready: XIAO D2 / P0.28\n");
	return 0;
}
```

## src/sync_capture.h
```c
#ifndef SYNC_CAPTURE_H_
#define SYNC_CAPTURE_H_

#include <stdint.h>

int sync_capture_init(void);
int sync_capture_handle_command(uint8_t command);

#endif /* SYNC_CAPTURE_H_ */
```
